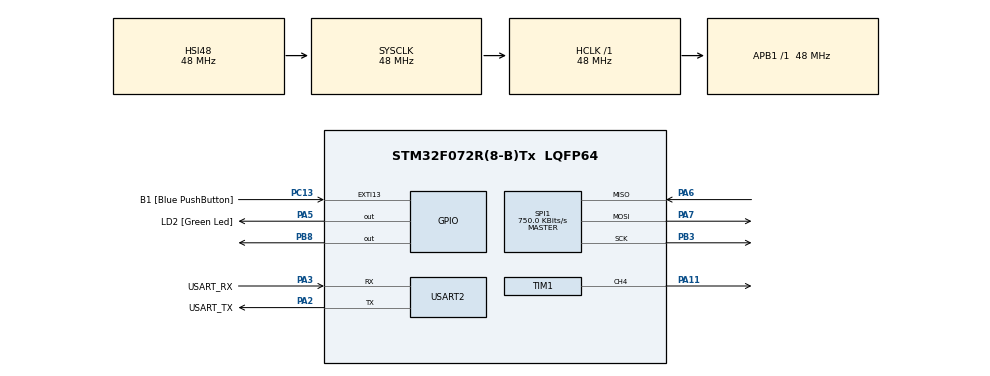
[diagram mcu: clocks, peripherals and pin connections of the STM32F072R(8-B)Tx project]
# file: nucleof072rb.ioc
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Mcu.Family=STM32F0
Mcu.Name=STM32F072R(8-B)Tx
Mcu.Package=LQFP64
PA11.Signal=S_TIM1_CH4
PA13.GPIO_Label=TMS
PA13.Mode=Serial_Wire
PA13.Signal=SYS_SWDIO
PA14.GPIO_Label=TCK
PA14.Mode=Serial_Wire
PA14.Signal=SYS_SWCLK
PA2.GPIO_Label=USART_TX
PA2.GPIO_Mode=GPIO_MODE_AF_PP
PA2.GPIO_PuPd=GPIO_NOPULL
PA2.GPIO_Speed=GPIO_SPEED_FREQ_LOW
PA2.Mode=Asynchronous
PA2.Signal=USART2_TX
PA3.GPIO_Label=USART_RX
PA3.GPIO_Mode=GPIO_MODE_AF_PP
PA3.GPIO_PuPd=GPIO_NOPULL
PA3.GPIO_Speed=GPIO_SPEED_FREQ_LOW
PA3.Mode=Asynchronous
PA3.Signal=USART2_RX
PA5.GPIO_Label=LD2 [Green Led]
PA5.GPIO_Mode=GPIO_MODE_OUTPUT_PP
PA5.GPIO_PuPd=GPIO_NOPULL
PA5.GPIO_Speed=GPIO_SPEED_FREQ_LOW
PA5.Signal=GPIO_Output
PA6.Mode=Full_Duplex_Master
PA6.Signal=SPI1_MISO
PA7.Mode=Full_Duplex_Master
PA7.Signal=SPI1_MOSI
PB3.Mode=Full_Duplex_Master
PB3.Signal=SPI1_SCK
PB8.Signal=GPIO_Output
PC13.GPIO_Label=B1 [Blue PushButton]
PC13.GPIO_ModeDefaultEXTI=GPIO_MODE_IT_FALLING
PC13.Signal=GPXTI13
PC14-OSC32_IN.Mode=LSE-External-Oscillator
PC14-OSC32_IN.Signal=RCC_OSC32_IN
PC15-OSC32_OUT.Mode=LSE-External-Oscillator
PC15-OSC32_OUT.Signal=RCC_OSC32_OUT
PF0-OSC_IN.Mode=HSE-External-Clock-Source
PF0-OSC_IN.Signal=RCC_OSC_IN
PF1-OSC_OUT.Signal=RCC_OSC_OUT
ProjectManager.HeapSize=0x200
ProjectManager.StackSize=0x400
ProjectManager.TargetToolchain=STM32CubeIDE
RCC.AHBFreq_Value=48000000
RCC.APB1Freq_Value=48000000
RCC.APB1TimFreq_Value=48000000
RCC.FLatency-AdvancedSettings=FLASH_LATENCY_1
RCC.HCLKFreq_Value=48000000
RCC.PLLDivider=RCC_PREDIV_DIV2
RCC.PLLMUL=RCC_PLL_MUL12
RCC.PREFETCH_ENABLE-AdvancedSettings=1
RCC.SYSCLKFreq_VALUE=48000000
RCC.SYSCLKSource=RCC_SYSCLKSOURCE_HSI48
SH.S_TIM1_CH4.0=TIM1_CH4,PWM Generation4 CH4
SPI1.BaudRatePrescaler=SPI_BAUDRATEPRESCALER_64
SPI1.CalculateBaudRate=750.0 KBits/s
SPI1.DataSize=SPI_DATASIZE_8BIT
SPI1.Direction=SPI_DIRECTION_2LINES
SPI1.Mode=SPI_MODE_MASTER
SPI1.VirtualType=VM_MASTER
TIM1.AutoReloadPreload=TIM_AUTORELOAD_PRELOAD_ENABLE
TIM1.Channel-PWM\ Generation4\ CH4=TIM_CHANNEL_4
TIM1.Period=19999
TIM1.Prescaler=47
USART2.VirtualMode=VM_ASYNC
USART2.VirtualMode-Asynchronous=VM_ASYNC
VP_TIM1_VS_ClockSourceINT.Mode=Internal
board=NUCLEO-F072RB

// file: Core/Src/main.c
/* USER CODE BEGIN Header */
/**
  ******************************************************************************
  * @file           : main.c
  * @brief          : Main program body
  ******************************************************************************
  * @attention
  *
  * <h2><center>&copy; Copyright (c) 2021 STMicroelectronics.
  * All rights reserved.</center></h2>
  *
  * This software component is licensed by ST under BSD 3-Clause license,
  * the "License"; You may not use this file except in compliance with the
  * License. You may obtain a copy of the License at:
  *                        opensource.org/licenses/BSD-3-Clause
  *
  ******************************************************************************
  */
/* USER CODE END Header */
#include "main.h"
#include "spi.h"
#include "tim.h"
#include "usart.h"
#include "gpio.h"

/* USER CODE BEGIN PD */
#define Min_Count 1000
#define Max_Count 2000
/* USER CODE END PD */

/* USER CODE BEGIN PV */
uint16_t adc_value;
uint16_t timer_value;
/* USER CODE END PV */

void SystemClock_Config(void);

/* USER CODE BEGIN 0 */
//get ADc value
  uint16_t Read_ADC(void) {
	  //release select line
	  HAL_GPIO_WritePin(GPIOB, GPIO_PIN_8, GPIO_PIN_RESET);

	  //get the bytes of data
	  // 0x01- start bit
	  //0x80- I am choosing single ended
	  // 0x00- Dont care bits
	  uint8_t transmit_buffer[3] = { 0x01, 0x80, 0x00 };

	  uint8_t receive_buffer[3]  = { 0 };

	  HAL_SPI_TransmitReceive(&hspi1, transmit_buffer,receive_buffer,3 ,HAL_MAX_DELAY);

	  //select line go back to being idle
	  HAL_GPIO_WritePin(GPIOB, GPIO_PIN_8, GPIO_PIN_SET);

	    // 4) Extract 10-bit result (0…1023)

	    //extract bit 8 and 9
	    uint8_t topbits = receive_buffer[1] & 0x03;

	    //shift them to 16 bit positions
	    uint16_t highpart = ((uint16_t)topbits) << 8;

	   // Take the entire second byte as the low 8 bits (bits 7–0):
	    uint16_t lowpart = receive_buffer[2];
	    //join them with bitwise OR
	     return highpart | lowpart;

}
  //change ADC values to SPI values
  static inline uint16_t ADCtoPWM(uint16_t adc_val) {
      return Min_Count+ ((uint32_t)adc_val * (Max_Count - Min_Count)) / 1023;
  }

/* USER CODE END 0 */

int main(void)
{

  /* MCU Configuration--------------------------------------------------------*/

  /* Reset of all peripherals, Initializes the Flash interface and the Systick. */
  HAL_Init();

  /* Configure the system clock */
  SystemClock_Config();

  /* Initialize all configured peripherals */
  MX_GPIO_Init();
  MX_USART2_UART_Init();
  MX_SPI1_Init();
  MX_TIM1_Init();
  /* USER CODE BEGIN 2 */
  HAL_TIM_PWM_Start(&htim1, TIM_CHANNEL_4);
  /* USER CODE END 2 */

  /* Infinite loop */
  while (1)
  {

    /* USER CODE BEGIN 3 */
	  // read aADc value
	  adc_value   = Read_ADC();

	  // Map that 0–1023 value into 1000–2000 ticks
	    timer_value = ADCtoPWM(adc_value);

	   //  Update TIM1_CH4 with the new compare value
	      __HAL_TIM_SET_COMPARE(&htim1, TIM_CHANNEL_4, timer_value);
	      HAL_Delay(10);
  }
  /* USER CODE END 3 */
}

void SystemClock_Config(void)
{
  RCC_OscInitTypeDef RCC_OscInitStruct = {0};
  RCC_ClkInitTypeDef RCC_ClkInitStruct = {0};
  RCC_PeriphCLKInitTypeDef PeriphClkInit = {0};

  /** Initializes the RCC Oscillators according to the specified parameters
  * in the RCC_OscInitTypeDef structure.
  */
  RCC_OscInitStruct.OscillatorType = RCC_OSCILLATORTYPE_HSI48;
  RCC_OscInitStruct.HSI48State = RCC_HSI48_ON;
  RCC_OscInitStruct.PLL.PLLState = RCC_PLL_NONE;
  if (HAL_RCC_OscConfig(&RCC_OscInitStruct) != HAL_OK)
  {
    Error_Handler();
  }

  /** Initializes the CPU, AHB and APB buses clocks
  */
  RCC_ClkInitStruct.ClockType = RCC_CLOCKTYPE_HCLK|RCC_CLOCKTYPE_SYSCLK
                              |RCC_CLOCKTYPE_PCLK1;
  RCC_ClkInitStruct.SYSCLKSource = RCC_SYSCLKSOURCE_HSI48;
  RCC_ClkInitStruct.AHBCLKDivider = RCC_SYSCLK_DIV1;
  RCC_ClkInitStruct.APB1CLKDivider = RCC_HCLK_DIV1;

  if (HAL_RCC_ClockConfig(&RCC_ClkInitStruct, FLASH_LATENCY_1) != HAL_OK)
  {
    Error_Handler();
  }
  PeriphClkInit.PeriphClockSelection = RCC_PERIPHCLK_USART2;
  PeriphClkInit.Usart2ClockSelection = RCC_USART2CLKSOURCE_PCLK1;
  if (HAL_RCCEx_PeriphCLKConfig(&PeriphClkInit) != HAL_OK)
  {
    Error_Handler();
  }
}

void Error_Handler(void)
{
  __disable_irq();
  while (1)
  {
  }
}
